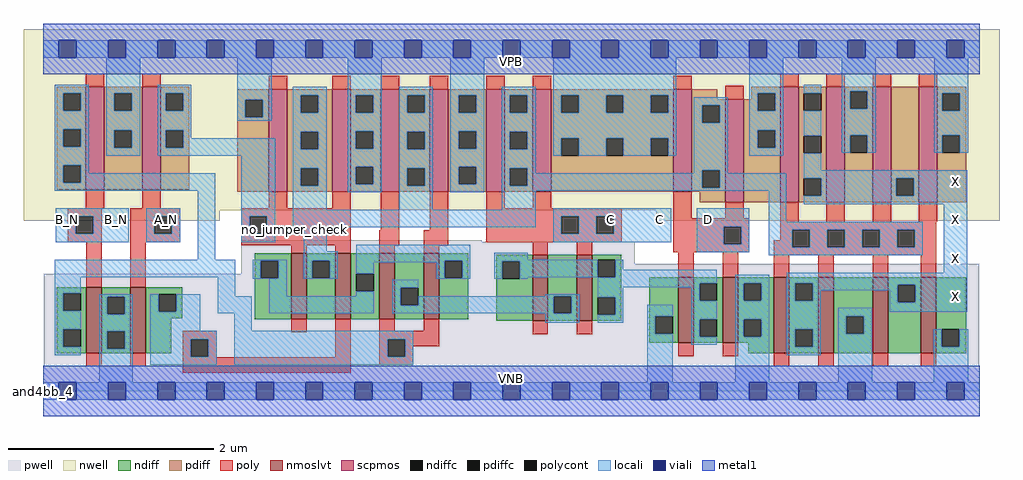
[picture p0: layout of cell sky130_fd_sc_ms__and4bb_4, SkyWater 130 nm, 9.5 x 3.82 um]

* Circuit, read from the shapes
.subckt sky130_fd_sc_ms__and4bb_4 A_N B_N C D VGND VNB VPB VPWR X
XM1 VGND B_N n1 VNB sky130_fd_pr__nfet_01v8_lvt w=0.64 l=0.15
XM2 n2 A_N VGND VNB sky130_fd_pr__nfet_01v8_lvt w=0.64 l=0.15
XM3 n3 n2 n4 VNB sky130_fd_pr__nfet_01v8_lvt w=0.64 l=0.15 m=2
XM4 n5 n1 n4 VNB sky130_fd_pr__nfet_01v8_lvt w=0.64 l=0.15 m=2
XM5 n5 C n6 VNB sky130_fd_pr__nfet_01v8_lvt w=0.64 l=0.15 m=2
XM6 n6 D VGND VNB sky130_fd_pr__nfet_01v8_lvt w=0.64 l=0.15 m=2
XM7 X n3 VGND VNB sky130_fd_pr__nfet_01v8_lvt w=0.74 l=0.15 m=4
XM8 VPWR B_N n1 VPB sky130_fd_pr__pfet_01v8 w=1 l=0.18
XM9 n2 A_N VPWR VPB sky130_fd_pr__pfet_01v8 w=1 l=0.18
XM10 n3 n2 VPWR VPB sky130_fd_pr__pfet_01v8 w=1 l=0.18 m=2
XM11 n3 n1 VPWR VPB sky130_fd_pr__pfet_01v8 w=1 l=0.18 m=2
XM12 n3 C VPWR VPB sky130_fd_pr__pfet_01v8 w=1 l=0.18 m=2
XM13 n3 D VPWR VPB sky130_fd_pr__pfet_01v8 w=1 l=0.18 m=2
XM14 X n3 VPWR VPB sky130_fd_pr__pfet_01v8 w=1.12 l=0.18 m=4
.ends

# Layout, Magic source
magic
tech sky130A
magscale 1 2
<< nwell >>
rect -38 352 1862 704
rect -38 332 344 352
rect 1194 332 1862 352
<< pwell >>
rect 386 291 854 294
rect 386 248 1152 291
rect 386 228 1823 248
rect 1 49 1823 228
rect 0 0 1824 49
<< scpmos >>
rect 83 392 119 592
rect 193 392 229 592
rect 439 388 475 588
rect 563 388 599 588
rect 657 388 693 588
rect 753 388 789 588
rect 863 388 899 588
rect 953 388 989 588
rect 1227 388 1263 588
rect 1328 368 1364 568
rect 1435 368 1471 592
rect 1525 368 1561 592
rect 1615 368 1651 592
rect 1705 368 1741 592
<< nmoslvt >>
rect 84 74 114 202
rect 170 74 200 202
rect 483 140 513 268
rect 569 140 599 268
rect 655 140 685 268
rect 741 140 771 268
rect 953 137 983 265
rect 1039 137 1069 265
rect 1237 94 1267 222
rect 1323 94 1353 222
rect 1423 74 1453 222
rect 1509 74 1539 222
rect 1615 74 1645 222
rect 1709 74 1739 222
<< ndiff >>
rect 412 254 483 268
rect 412 220 424 254
rect 458 220 483 254
rect 27 190 84 202
rect 27 156 39 190
rect 73 156 84 190
rect 27 120 84 156
rect 27 86 39 120
rect 73 86 84 120
rect 27 74 84 86
rect 114 184 170 202
rect 114 150 125 184
rect 159 150 170 184
rect 114 116 170 150
rect 114 82 125 116
rect 159 82 170 116
rect 114 74 170 82
rect 200 188 271 202
rect 200 154 225 188
rect 259 154 271 188
rect 200 142 271 154
rect 200 74 250 142
rect 412 140 483 220
rect 513 254 569 268
rect 513 220 524 254
rect 558 220 569 254
rect 513 140 569 220
rect 599 228 655 268
rect 599 194 610 228
rect 644 194 655 228
rect 599 140 655 194
rect 685 201 741 268
rect 685 167 696 201
rect 730 167 741 201
rect 685 140 741 167
rect 771 254 828 268
rect 771 220 782 254
rect 816 220 828 254
rect 771 140 828 220
rect 882 253 953 265
rect 882 219 894 253
rect 928 219 953 253
rect 882 137 953 219
rect 983 185 1039 265
rect 983 151 994 185
rect 1028 151 1039 185
rect 983 137 1039 151
rect 1069 256 1126 265
rect 1069 222 1080 256
rect 1114 222 1126 256
rect 1069 183 1126 222
rect 1069 149 1080 183
rect 1114 149 1126 183
rect 1069 137 1126 149
rect 1180 146 1237 222
rect 1180 112 1192 146
rect 1226 112 1237 146
rect 1180 94 1237 112
rect 1267 210 1323 222
rect 1267 176 1278 210
rect 1312 176 1323 210
rect 1267 140 1323 176
rect 1267 106 1278 140
rect 1312 106 1323 140
rect 1267 94 1323 106
rect 1353 210 1423 222
rect 1353 176 1364 210
rect 1398 176 1423 210
rect 1353 140 1423 176
rect 1353 106 1364 140
rect 1398 106 1423 140
rect 1353 94 1423 106
rect 1373 74 1423 94
rect 1453 210 1509 222
rect 1453 176 1464 210
rect 1498 176 1509 210
rect 1453 120 1509 176
rect 1453 86 1464 120
rect 1498 86 1509 120
rect 1453 74 1509 86
rect 1539 146 1615 222
rect 1539 112 1564 146
rect 1598 112 1615 146
rect 1539 74 1615 112
rect 1645 207 1709 222
rect 1645 173 1664 207
rect 1698 173 1709 207
rect 1645 74 1709 173
rect 1739 120 1797 222
rect 1739 86 1750 120
rect 1784 86 1797 120
rect 1739 74 1797 86
<< pdiff >>
rect 27 580 83 592
rect 27 546 39 580
rect 73 546 83 580
rect 27 510 83 546
rect 27 476 39 510
rect 73 476 83 510
rect 27 440 83 476
rect 27 406 39 440
rect 73 406 83 440
rect 27 392 83 406
rect 119 580 193 592
rect 119 546 139 580
rect 173 546 193 580
rect 119 508 193 546
rect 119 474 139 508
rect 173 474 193 508
rect 119 392 193 474
rect 229 580 285 592
rect 229 546 239 580
rect 273 546 285 580
rect 229 508 285 546
rect 229 474 239 508
rect 273 474 285 508
rect 229 392 285 474
rect 378 567 439 588
rect 378 533 394 567
rect 428 533 439 567
rect 378 388 439 533
rect 475 576 563 588
rect 475 542 502 576
rect 536 542 563 576
rect 475 505 563 542
rect 475 471 502 505
rect 536 471 563 505
rect 475 434 563 471
rect 475 400 502 434
rect 536 400 563 434
rect 475 388 563 400
rect 599 576 657 588
rect 599 542 609 576
rect 643 542 657 576
rect 599 506 657 542
rect 599 472 609 506
rect 643 472 657 506
rect 599 437 657 472
rect 599 403 609 437
rect 643 403 657 437
rect 599 388 657 403
rect 693 576 753 588
rect 693 542 709 576
rect 743 542 753 576
rect 693 505 753 542
rect 693 471 709 505
rect 743 471 753 505
rect 693 434 753 471
rect 693 400 709 434
rect 743 400 753 434
rect 693 388 753 400
rect 789 576 863 588
rect 789 542 809 576
rect 843 542 863 576
rect 789 506 863 542
rect 789 472 809 506
rect 843 472 863 506
rect 789 437 863 472
rect 789 403 809 437
rect 843 403 863 437
rect 789 388 863 403
rect 899 576 953 588
rect 899 542 909 576
rect 943 542 953 576
rect 899 505 953 542
rect 899 471 909 505
rect 943 471 953 505
rect 899 434 953 471
rect 899 400 909 434
rect 943 400 953 434
rect 899 388 953 400
rect 989 576 1227 588
rect 989 542 1009 576
rect 1043 542 1096 576
rect 1130 542 1183 576
rect 1217 542 1227 576
rect 989 492 1227 542
rect 989 458 1009 492
rect 1043 458 1096 492
rect 1130 458 1183 492
rect 1217 458 1227 492
rect 989 388 1227 458
rect 1263 568 1313 588
rect 1379 580 1435 592
rect 1379 568 1391 580
rect 1263 556 1328 568
rect 1263 522 1283 556
rect 1317 522 1328 556
rect 1263 430 1328 522
rect 1263 396 1283 430
rect 1317 396 1328 430
rect 1263 388 1328 396
rect 1278 368 1328 388
rect 1364 546 1391 568
rect 1425 546 1435 580
rect 1364 508 1435 546
rect 1364 474 1391 508
rect 1425 474 1435 508
rect 1364 368 1435 474
rect 1471 580 1525 592
rect 1471 546 1481 580
rect 1515 546 1525 580
rect 1471 497 1525 546
rect 1471 463 1481 497
rect 1515 463 1525 497
rect 1471 414 1525 463
rect 1471 380 1481 414
rect 1515 380 1525 414
rect 1471 368 1525 380
rect 1561 584 1615 592
rect 1561 550 1571 584
rect 1605 550 1615 584
rect 1561 498 1615 550
rect 1561 464 1571 498
rect 1605 464 1615 498
rect 1561 368 1615 464
rect 1651 414 1705 592
rect 1651 380 1661 414
rect 1695 380 1705 414
rect 1651 368 1705 380
rect 1741 580 1797 592
rect 1741 546 1751 580
rect 1785 546 1797 580
rect 1741 498 1797 546
rect 1741 464 1751 498
rect 1785 464 1797 498
rect 1741 368 1797 464
<< ndiffc >>
rect 424 220 458 254
rect 39 156 73 190
rect 39 86 73 120
rect 125 150 159 184
rect 125 82 159 116
rect 225 154 259 188
rect 524 220 558 254
rect 610 194 644 228
rect 696 167 730 201
rect 782 220 816 254
rect 894 219 928 253
rect 994 151 1028 185
rect 1080 222 1114 256
rect 1080 149 1114 183
rect 1192 112 1226 146
rect 1278 176 1312 210
rect 1278 106 1312 140
rect 1364 176 1398 210
rect 1364 106 1398 140
rect 1464 176 1498 210
rect 1464 86 1498 120
rect 1564 112 1598 146
rect 1664 173 1698 207
rect 1750 86 1784 120
<< pdiffc >>
rect 39 546 73 580
rect 39 476 73 510
rect 39 406 73 440
rect 139 546 173 580
rect 139 474 173 508
rect 239 546 273 580
rect 239 474 273 508
rect 394 533 428 567
rect 502 542 536 576
rect 502 471 536 505
rect 502 400 536 434
rect 609 542 643 576
rect 609 472 643 506
rect 609 403 643 437
rect 709 542 743 576
rect 709 471 743 505
rect 709 400 743 434
rect 809 542 843 576
rect 809 472 843 506
rect 809 403 843 437
rect 909 542 943 576
rect 909 471 943 505
rect 909 400 943 434
rect 1009 542 1043 576
rect 1096 542 1130 576
rect 1183 542 1217 576
rect 1009 458 1043 492
rect 1096 458 1130 492
rect 1183 458 1217 492
rect 1283 522 1317 556
rect 1283 396 1317 430
rect 1391 546 1425 580
rect 1391 474 1425 508
rect 1481 546 1515 580
rect 1481 463 1515 497
rect 1481 380 1515 414
rect 1571 550 1605 584
rect 1571 464 1605 498
rect 1661 380 1695 414
rect 1751 546 1785 580
rect 1751 464 1785 498
<< poly >>
rect 83 592 119 618
rect 193 592 229 618
rect 439 588 475 614
rect 563 588 599 614
rect 657 588 693 614
rect 753 588 789 614
rect 863 588 899 614
rect 953 588 989 614
rect 1227 588 1263 614
rect 83 356 119 392
rect 193 356 229 392
rect 1328 568 1364 594
rect 1435 592 1471 618
rect 1525 592 1561 618
rect 1615 592 1651 618
rect 1705 592 1741 618
rect 439 356 475 388
rect 563 356 599 388
rect 48 340 114 356
rect 48 306 64 340
rect 98 306 114 340
rect 48 290 114 306
rect 84 202 114 290
rect 170 340 267 356
rect 170 306 217 340
rect 251 306 267 340
rect 170 290 267 306
rect 386 340 599 356
rect 386 306 402 340
rect 436 306 599 340
rect 657 313 693 388
rect 753 313 789 388
rect 170 202 200 290
rect 386 284 599 306
rect 483 268 513 284
rect 569 268 599 284
rect 655 283 693 313
rect 741 283 789 313
rect 863 356 899 388
rect 953 356 989 388
rect 863 340 1127 356
rect 863 306 1009 340
rect 1043 306 1077 340
rect 1111 306 1127 340
rect 863 290 1127 306
rect 1227 336 1263 388
rect 1328 336 1364 368
rect 1227 320 1375 336
rect 655 268 685 283
rect 741 268 771 283
rect 953 265 983 290
rect 1039 265 1069 290
rect 1227 286 1325 320
rect 1359 286 1375 320
rect 1435 330 1471 368
rect 1525 330 1561 368
rect 1615 330 1651 368
rect 1705 330 1741 368
rect 1435 314 1739 330
rect 1435 294 1459 314
rect 1227 270 1375 286
rect 1423 280 1459 294
rect 1493 280 1527 314
rect 1561 280 1595 314
rect 1629 280 1663 314
rect 1697 280 1739 314
rect 272 101 338 117
rect 483 114 513 140
rect 84 48 114 74
rect 170 48 200 74
rect 272 67 288 101
rect 322 67 338 101
rect 272 66 338 67
rect 569 66 599 140
rect 272 36 599 66
rect 655 117 685 140
rect 741 117 771 140
rect 1237 222 1267 270
rect 1323 222 1353 270
rect 1423 264 1739 280
rect 1423 222 1453 264
rect 1509 222 1539 264
rect 1615 222 1645 264
rect 1709 222 1739 264
rect 655 101 771 117
rect 953 111 983 137
rect 1039 111 1069 137
rect 655 67 671 101
rect 705 87 771 101
rect 705 67 721 87
rect 1237 68 1267 94
rect 1323 68 1353 94
rect 655 51 721 67
rect 1423 48 1453 74
rect 1509 48 1539 74
rect 1615 48 1645 74
rect 1709 48 1739 74
<< polycont >>
rect 64 306 98 340
rect 217 306 251 340
rect 402 306 436 340
rect 1009 306 1043 340
rect 1077 306 1111 340
rect 1325 286 1359 320
rect 1459 280 1493 314
rect 1527 280 1561 314
rect 1595 280 1629 314
rect 1663 280 1697 314
rect 288 67 322 101
rect 671 67 705 101
<< locali >>
rect 0 649 31 683
rect 65 649 127 683
rect 161 649 223 683
rect 257 649 319 683
rect 353 649 415 683
rect 449 649 511 683
rect 545 649 607 683
rect 641 649 703 683
rect 737 649 799 683
rect 833 649 895 683
rect 929 649 991 683
rect 1025 649 1087 683
rect 1121 649 1183 683
rect 1217 649 1279 683
rect 1313 649 1375 683
rect 1409 649 1471 683
rect 1505 649 1567 683
rect 1601 649 1663 683
rect 1697 649 1759 683
rect 1793 649 1824 683
rect 23 580 89 596
rect 23 546 39 580
rect 73 546 89 580
rect 23 510 89 546
rect 23 476 39 510
rect 73 476 89 510
rect 23 440 89 476
rect 123 580 189 649
rect 123 546 139 580
rect 173 546 189 580
rect 123 508 189 546
rect 123 474 139 508
rect 173 474 189 508
rect 123 458 189 474
rect 223 580 289 596
rect 223 546 239 580
rect 273 546 289 580
rect 223 508 289 546
rect 378 567 445 649
rect 378 533 394 567
rect 428 533 445 567
rect 378 526 445 533
rect 486 576 552 592
rect 486 542 502 576
rect 536 542 552 576
rect 223 474 239 508
rect 273 492 289 508
rect 486 505 552 542
rect 273 474 452 492
rect 223 458 452 474
rect 23 406 39 440
rect 73 424 89 440
rect 73 406 335 424
rect 23 390 335 406
rect 25 340 167 356
rect 25 306 64 340
rect 98 306 167 340
rect 25 290 167 306
rect 201 340 267 356
rect 201 306 217 340
rect 251 306 267 340
rect 201 290 267 306
rect 301 256 335 390
rect 386 340 452 458
rect 386 306 402 340
rect 436 306 452 340
rect 486 471 502 505
rect 536 471 552 505
rect 486 434 552 471
rect 486 400 502 434
rect 536 400 552 434
rect 486 353 552 400
rect 593 576 659 649
rect 593 542 609 576
rect 643 542 659 576
rect 593 506 659 542
rect 593 472 609 506
rect 643 472 659 506
rect 593 437 659 472
rect 593 403 609 437
rect 643 403 659 437
rect 593 387 659 403
rect 693 576 759 592
rect 693 542 709 576
rect 743 542 759 576
rect 693 505 759 542
rect 693 471 709 505
rect 743 471 759 505
rect 693 434 759 471
rect 693 400 709 434
rect 743 400 759 434
rect 693 353 759 400
rect 793 576 859 649
rect 793 542 809 576
rect 843 542 859 576
rect 793 506 859 542
rect 793 472 809 506
rect 843 472 859 506
rect 793 437 859 472
rect 793 403 809 437
rect 843 403 859 437
rect 793 387 859 403
rect 893 576 959 592
rect 893 542 909 576
rect 943 542 959 576
rect 893 505 959 542
rect 893 471 909 505
rect 943 471 959 505
rect 893 434 959 471
rect 993 576 1233 649
rect 993 542 1009 576
rect 1043 542 1096 576
rect 1130 542 1183 576
rect 1217 542 1233 576
rect 1375 580 1441 649
rect 993 492 1233 542
rect 993 458 1009 492
rect 1043 458 1096 492
rect 1130 458 1183 492
rect 1217 458 1233 492
rect 1267 556 1333 572
rect 1267 522 1283 556
rect 1317 522 1333 556
rect 893 400 909 434
rect 943 424 959 434
rect 1267 430 1333 522
rect 1375 546 1391 580
rect 1425 546 1441 580
rect 1375 508 1441 546
rect 1375 474 1391 508
rect 1425 474 1441 508
rect 1375 458 1441 474
rect 1481 580 1515 596
rect 1481 497 1515 546
rect 1555 584 1621 649
rect 1555 550 1571 584
rect 1605 550 1621 584
rect 1555 498 1621 550
rect 1555 464 1571 498
rect 1605 464 1621 498
rect 1735 580 1801 649
rect 1735 546 1751 580
rect 1785 546 1801 580
rect 1735 498 1801 546
rect 1735 464 1751 498
rect 1785 464 1801 498
rect 1267 424 1283 430
rect 943 400 1283 424
rect 893 396 1283 400
rect 1317 424 1333 430
rect 1481 430 1515 463
rect 1317 396 1447 424
rect 893 390 1447 396
rect 893 353 959 390
rect 486 319 959 353
rect 993 340 1223 356
rect 386 290 452 306
rect 508 272 552 319
rect 993 306 1009 340
rect 1043 306 1077 340
rect 1111 306 1223 340
rect 993 290 1223 306
rect 1273 320 1375 356
rect 1273 286 1325 320
rect 1359 286 1375 320
rect 23 222 374 256
rect 23 190 73 222
rect 23 156 39 190
rect 23 120 73 156
rect 23 86 39 120
rect 23 70 73 86
rect 109 184 175 188
rect 109 150 125 184
rect 159 150 175 184
rect 109 116 175 150
rect 109 82 125 116
rect 159 82 175 116
rect 109 17 175 82
rect 209 154 225 188
rect 259 154 306 188
rect 209 117 306 154
rect 340 185 374 222
rect 408 254 474 256
rect 408 220 424 254
rect 458 220 474 254
rect 408 219 474 220
rect 508 254 574 272
rect 508 220 524 254
rect 558 220 574 254
rect 508 219 574 220
rect 610 254 832 285
rect 1273 270 1375 286
rect 1413 330 1447 390
rect 1481 414 1799 430
rect 1515 380 1661 414
rect 1695 380 1799 414
rect 1481 364 1799 380
rect 1413 314 1713 330
rect 1413 280 1459 314
rect 1493 280 1527 314
rect 1561 280 1595 314
rect 1629 280 1663 314
rect 1697 280 1713 314
rect 610 251 782 254
rect 610 228 644 251
rect 440 185 474 219
rect 766 220 782 251
rect 816 220 832 254
rect 766 219 832 220
rect 878 256 944 269
rect 1413 264 1713 280
rect 878 253 1080 256
rect 878 219 894 253
rect 928 222 1080 253
rect 1114 236 1130 256
rect 1114 222 1312 236
rect 1753 230 1799 364
rect 928 219 944 222
rect 610 185 644 194
rect 340 151 406 185
rect 440 151 644 185
rect 680 201 730 217
rect 680 167 696 201
rect 1080 210 1312 222
rect 1080 202 1278 210
rect 978 185 1044 188
rect 730 167 994 185
rect 680 151 994 167
rect 1028 151 1044 185
rect 372 117 406 151
rect 978 133 1044 151
rect 1080 183 1130 202
rect 1114 149 1130 183
rect 1262 176 1278 202
rect 1080 133 1130 149
rect 1176 146 1226 168
rect 209 101 338 117
rect 209 67 288 101
rect 322 67 338 101
rect 209 51 338 67
rect 372 101 721 117
rect 372 67 671 101
rect 705 67 721 101
rect 372 51 721 67
rect 1176 112 1192 146
rect 1176 17 1226 112
rect 1262 140 1312 176
rect 1262 106 1278 140
rect 1262 90 1312 106
rect 1348 210 1414 226
rect 1348 176 1364 210
rect 1398 176 1414 210
rect 1348 140 1414 176
rect 1348 106 1364 140
rect 1398 106 1414 140
rect 1348 17 1414 106
rect 1448 210 1799 230
rect 1448 176 1464 210
rect 1498 207 1799 210
rect 1498 196 1664 207
rect 1498 176 1514 196
rect 1448 120 1514 176
rect 1648 173 1664 196
rect 1698 173 1799 207
rect 1448 86 1464 120
rect 1498 86 1514 120
rect 1448 70 1514 86
rect 1548 146 1614 162
rect 1648 154 1799 173
rect 1548 112 1564 146
rect 1598 112 1614 146
rect 1548 17 1614 112
rect 1734 86 1750 120
rect 1784 86 1801 120
rect 1734 17 1801 86
rect 0 -17 31 17
rect 65 -17 127 17
rect 161 -17 223 17
rect 257 -17 319 17
rect 353 -17 415 17
rect 449 -17 511 17
rect 545 -17 607 17
rect 641 -17 703 17
rect 737 -17 799 17
rect 833 -17 895 17
rect 929 -17 991 17
rect 1025 -17 1087 17
rect 1121 -17 1183 17
rect 1217 -17 1279 17
rect 1313 -17 1375 17
rect 1409 -17 1471 17
rect 1505 -17 1567 17
rect 1601 -17 1663 17
rect 1697 -17 1759 17
rect 1793 -17 1824 17
<< viali >>
rect 31 649 65 683
rect 127 649 161 683
rect 223 649 257 683
rect 319 649 353 683
rect 415 649 449 683
rect 511 649 545 683
rect 607 649 641 683
rect 703 649 737 683
rect 799 649 833 683
rect 895 649 929 683
rect 991 649 1025 683
rect 1087 649 1121 683
rect 1183 649 1217 683
rect 1279 649 1313 683
rect 1375 649 1409 683
rect 1471 649 1505 683
rect 1567 649 1601 683
rect 1663 649 1697 683
rect 1759 649 1793 683
rect 31 -17 65 17
rect 127 -17 161 17
rect 223 -17 257 17
rect 319 -17 353 17
rect 415 -17 449 17
rect 511 -17 545 17
rect 607 -17 641 17
rect 703 -17 737 17
rect 799 -17 833 17
rect 895 -17 929 17
rect 991 -17 1025 17
rect 1087 -17 1121 17
rect 1183 -17 1217 17
rect 1279 -17 1313 17
rect 1375 -17 1409 17
rect 1471 -17 1505 17
rect 1567 -17 1601 17
rect 1663 -17 1697 17
rect 1759 -17 1793 17
<< metal1 >>
rect 0 683 1824 715
rect 0 649 31 683
rect 65 649 127 683
rect 161 649 223 683
rect 257 649 319 683
rect 353 649 415 683
rect 449 649 511 683
rect 545 649 607 683
rect 641 649 703 683
rect 737 649 799 683
rect 833 649 895 683
rect 929 649 991 683
rect 1025 649 1087 683
rect 1121 649 1183 683
rect 1217 649 1279 683
rect 1313 649 1375 683
rect 1409 649 1471 683
rect 1505 649 1567 683
rect 1601 649 1663 683
rect 1697 649 1759 683
rect 1793 649 1824 683
rect 0 617 1824 649
rect 0 17 1824 49
rect 0 -17 31 17
rect 65 -17 127 17
rect 161 -17 223 17
rect 257 -17 319 17
rect 353 -17 415 17
rect 449 -17 511 17
rect 545 -17 607 17
rect 641 -17 703 17
rect 737 -17 799 17
rect 833 -17 895 17
rect 929 -17 991 17
rect 1025 -17 1087 17
rect 1121 -17 1183 17
rect 1217 -17 1279 17
rect 1313 -17 1375 17
rect 1409 -17 1471 17
rect 1505 -17 1567 17
rect 1601 -17 1663 17
rect 1697 -17 1759 17
rect 1793 -17 1824 17
rect 0 -49 1824 -17
<< labels >>
flabel pwell s 0 0 1824 49 0 FreeSans 200 0 0 0 VNB
port 6 nsew ground bidirectional
flabel nwell s 0 617 1824 666 0 FreeSans 200 0 0 0 VPB
port 7 nsew power bidirectional
rlabel comment s 0 0 0 0 4 and4bb_4
flabel comment s 490 314 490 314 0 FreeSans 200 0 0 0 no_jumper_check
flabel metal1 s 0 617 1824 666 0 FreeSans 340 0 0 0 VPWR
port 8 nsew power bidirectional
flabel metal1 s 0 0 1824 49 0 FreeSans 340 0 0 0 VGND
port 5 nsew ground bidirectional
flabel locali s 31 316 65 350 0 FreeSans 340 0 0 0 B_N
port 2 nsew signal input
flabel locali s 127 316 161 350 0 FreeSans 340 0 0 0 B_N
port 2 nsew signal input
flabel locali s 223 316 257 350 0 FreeSans 340 0 0 0 A_N
port 1 nsew signal input
flabel locali s 1279 316 1313 350 0 FreeSans 340 0 0 0 D
port 4 nsew signal input
flabel locali s 1087 316 1121 350 0 FreeSans 340 0 0 0 C
port 3 nsew signal input
flabel locali s 1183 316 1217 350 0 FreeSans 340 0 0 0 C
port 3 nsew signal input
flabel locali s 1759 168 1793 202 0 FreeSans 340 0 0 0 X
port 9 nsew signal output
flabel locali s 1759 242 1793 276 0 FreeSans 340 0 0 0 X
port 9 nsew signal output
flabel locali s 1759 316 1793 350 0 FreeSans 340 0 0 0 X
port 9 nsew signal output
flabel locali s 1759 390 1793 424 0 FreeSans 340 0 0 0 X
port 9 nsew signal output
<< properties >>
string LEFsite unit
string LEFclass CORE
string FIXED_BBOX 0 0 1824 666
string GDS_FILE $PDKPATH/libs.ref/sky130_fd_sc_ms/gds/sky130_fd_sc_ms.gds
string LEFsymmetry X Y
string GDS_END 3237944
string GDS_START 3223836
<< end >>
